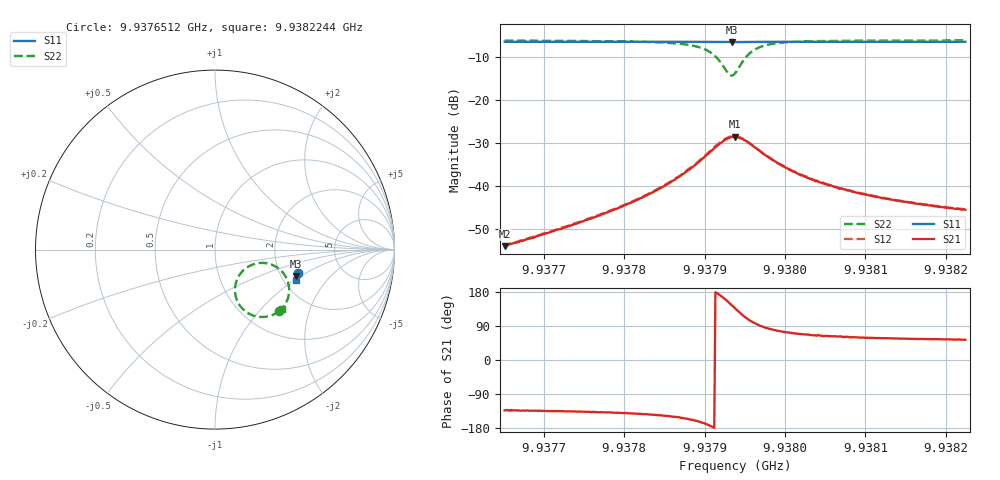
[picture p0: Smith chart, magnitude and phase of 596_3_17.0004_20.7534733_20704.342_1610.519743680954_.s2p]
#  HZ  S  RI  R  50.00
! Rohde & Schwarz Vector Network Analyzer
! Rohde-Schwarz,ZNB20-2Port,1311601062101988,3.16
! Created: UTC 3/20/2024, 11:18:50 PM
! freq[Hz]  re:S11  im:S11  re:S21  im:S21  re:S12  im:S12  re:S22  im:S22
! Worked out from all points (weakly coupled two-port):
!   401 points, 9.9376512 GHz to 9.9382244 GHz, reference 50 ohm
!   highest |S21| = -28.46 dB at 9.9379378 GHz (marker M1); lowest = -53.9 dB at 9.9376512 GHz (marker M2)
!   lowest |S11| = -6.4 dB at 9.9379335 GHz (marker M3), VSWR 2.82, Z = 120 - j46 ohm
!   |S11| at or under -10 dB: nowhere
!   |S22| runs from -14.2 to -6.1 dB; largest |S21 - S12| = 0.0018
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9.9376512e9  0.4639 -0.1314  -0.00138 -0.00148  -0.00141 -0.00146  0.3573 -0.3423
9.93774721e9  0.4614 -0.1379  -0.00284 -0.00269  -0.00292 -0.00269  0.3395 -0.3545
9.93779736e9  0.4601 -0.1413  -0.00448 -0.00378  -0.0046 -0.00378  0.3223 -0.3632
9.93784322e9  0.4587 -0.1446  -0.00773 -0.00526  -0.00797 -0.00528  0.2919 -0.3728
9.93787045e9  0.4575 -0.1467  -0.0119 -0.00609  -0.0121 -0.00606  0.2564 -0.3754
9.93788764e9  0.4564 -0.1478  -0.0165 -0.00625  -0.017 -0.00597  0.2183 -0.3689
9.93790054e9  0.4555 -0.1485  -0.0219 -0.00471  -0.0224 -0.00433  0.1775 -0.3495
9.937912e9  0.4544 -0.1489  -0.0278 -0.000532  -0.0285 0.000356  0.1353 -0.3063
9.9379206e9  0.4536 -0.1488  -0.0316 0.00631  -0.0325 0.00736  0.1128 -0.2462
9.9379292e9  0.4529 -0.1481  -0.0325 0.016  -0.0327 0.0178  0.123 -0.1661
9.9379335e9  0.4529 -0.1477  -0.0308 0.0215  -0.0305 0.023  0.147 -0.1273
9.93793779e9  0.4532 -0.1473  -0.0274 0.026  -0.0267 0.0276  0.1817 -0.097
9.93794496e9  0.4537 -0.1472  -0.0194 0.0306  -0.0186 0.0318  0.2511 -0.0743
9.93795356e9  0.4547 -0.1474  -0.0103 0.0311  -0.00905 0.0318  0.324 -0.0871
9.93796072e9  0.4552 -0.148  -0.00458 0.0288  -0.00359 0.0293  0.364 -0.1135
9.93796789e9  0.4555 -0.1486  -0.000846 0.0262  0.00014 0.0263  0.3883 -0.142
9.93798078e9  0.4558 -0.15  0.00275 0.0213  0.00354 0.0214  0.4082 -0.1862
9.93799798e9  0.4556 -0.1516  0.00468 0.0167  0.00494 0.0164  0.4133 -0.2264
9.9380338e9  0.4548 -0.1546  0.00497 0.011  0.00529 0.0109  0.406 -0.2713
9.93806533e9  0.4541 -0.1568  0.00454 0.00849  0.00487 0.00846  0.398 -0.2914
9.93812981e9  0.4523 -0.1614  0.00385 0.00595  0.00401 0.00593  0.3853 -0.3133
9.93822438e9  0.4498 -0.1675  0.00319 0.0043  0.00334 0.0043  0.3727 -0.3296
